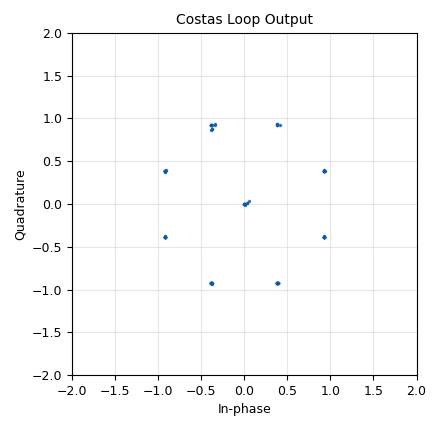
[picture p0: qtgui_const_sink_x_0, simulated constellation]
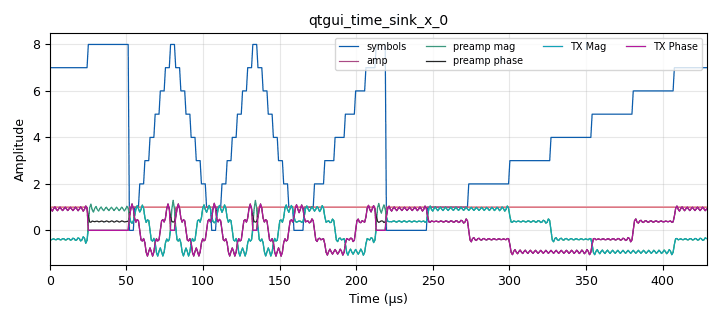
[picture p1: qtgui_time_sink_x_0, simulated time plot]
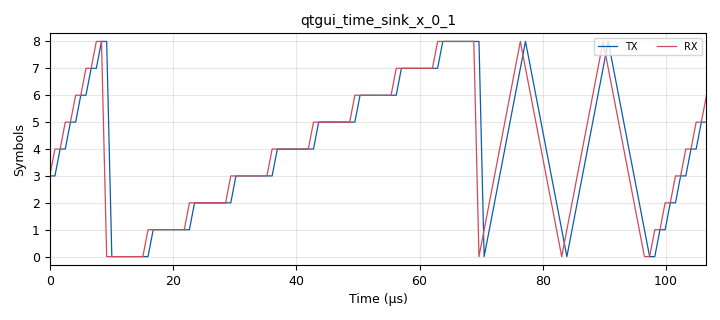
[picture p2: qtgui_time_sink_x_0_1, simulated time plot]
options:
  parameters:
    author: Seth Kintigh
    generate_options: qt_gui
    id: d9psk_mod_demod
    output_language: python
    run_options: run
    title: 9DPSK modulator and demodulator example
  states: {}

blocks:
- name: constellation_9PSK_auto
  id: variable_constellation
  parameters:
    const_points: '[0.383+0.924j, 0.924+0.383j, 0.924-0.383j, 0.383-0.924j, -0.383-0.924j, -0.924-0.383j, -0.924+0.383j, -0.383+0.924j, 0]'
    dims: '1'
    normalization: digital.constellation.AMPLITUDE_NORMALIZATION
    precision: '8'
    rot_sym: '8'
    soft_dec_lut: '''auto'''
    sym_map: '[1,0,7,6,5,4,3,2,8]'
    type: calcdist
  states: {}
- name: delay
  id: variable_qtgui_range
  parameters:
    gui_hint: 0,2
    label: Delay
    rangeType: int
    start: '0'
    step: '1'
    stop: '100'
    value: '30'
  states: {}
- name: nfilts
  id: variable
  parameters:
    value: '24'
  states: {}
- name: pcs_sps_in
  id: variable
  parameters:
    value: '4'
  states: {}
- name: pcs_sps_out
  id: variable
  parameters:
    value: '1'
  states: {}
- name: phase_bw
  id: variable_qtgui_range
  parameters:
    gui_hint: 0,1
    label: 'Phase: Bandwidth'
    start: '0.0'
    step: '0.01'
    stop: '1.0'
    value: 6.28/100.0
  states: {}
- name: rrc_taps
  id: variable
  parameters:
    value: firdes.root_raised_cosine(nfilts, nfilts, 1.0/float(pcs_sps_in), timing_loop_bw_rolloff, 11*pcs_sps_in*nfilts)
  states: {}
- name: samp_rate
  id: variable
  parameters:
    value: '1192000'
  states: {}
- name: taps
  id: variable
  parameters:
    value: '[1.0, 0.25-0.25j, 0.50 + 0.10j, -0.3 + 0.2j]'
  states: {}
- name: throttle_rate
  id: variable
  parameters:
    value: '1000000'
  states: {}
- name: timing_loop_bw
  id: variable_qtgui_range
  parameters:
    gui_hint: '0,0 '
    label: 'Time: BW'
    start: '0.0'
    step: '0.01'
    stop: '0.2'
    value: '6.28/100.0 '
  states: {}
- name: timing_loop_bw_rolloff
  id: variable
  parameters:
    value: .35*3
  states: {}
- name: variable_constellation_0
  id: variable_constellation
  parameters:
    const_points: '[0.383+0.924j, 0.924+0.383j, 0.924-0.383j, 0.383-0.924j, -0.383-0.924j, -0.924-0.383j, -0.924+0.383j, -0.383+0.924j]'
    dims: '1'
    normalization: digital.constellation.AMPLITUDE_NORMALIZATION
    precision: '8'
    rot_sym: '8'
    sym_map: '[1,0,7,6,5,4,3,2]'
    type: calcdist
  states: {}
- name: analog_const_source_x_0
  id: analog_const_source_x
  parameters:
    const: '-8*256'
    type: short
  states: {}
- name: analog_random_source_x_0
  id: analog_random_source_x
  parameters:
    max: '8'
    min: '0'
    num_samps: '1000'
    repeat: 'True'
    type: byte
  states: {state: disabled}
- name: blocks_add_const_vxx_0
  id: blocks_add_const_vxx
  parameters:
    comment: 1/0
    const: '1'
    type: short
  states: {}
- name: blocks_char_to_float_0
  id: blocks_char_to_float
  parameters:
    scale: '1'
  states: {}
- name: blocks_char_to_float_0_0
  id: blocks_char_to_float
  parameters:
    scale: '1'
  states: {}
- name: blocks_char_to_float_0_0_0
  id: blocks_char_to_float
  parameters:
    scale: '1'
  states: {}
- name: blocks_char_to_short_0
  id: blocks_char_to_short
  parameters: {}
  states: {}
- name: blocks_complex_to_float_0
  id: blocks_complex_to_float
  parameters: {}
  states: {}
- name: blocks_delay_0
  id: blocks_delay
  parameters:
    delay: '86'
    type: byte
  states: {}
- name: blocks_delay_0_0
  id: blocks_delay
  parameters:
    delay: delay
    type: byte
  states: {}
- name: blocks_divide_xx_0
  id: blocks_divide_xx
  parameters:
    comment: should be 0 if on/-1 off
    type: short
  states: {}
- name: blocks_float_to_complex_0
  id: blocks_float_to_complex
  parameters: {}
  states: {}
- name: blocks_multiply_xx_0
  id: blocks_multiply_xx
  parameters:
    type: float
  states: {}
- name: blocks_multiply_xx_0_0
  id: blocks_multiply_xx
  parameters:
    type: float
  states: {}
- name: blocks_pack_k_bits_bb_0
  id: blocks_pack_k_bits_bb
  parameters:
    k: '8'
  states: {}
- name: blocks_repeat_0
  id: blocks_repeat
  parameters:
    interp: '4'
    type: byte
  states: {}
- name: blocks_short_to_float_0
  id: blocks_short_to_float
  parameters:
    scale: '1'
  states: {}
- name: blocks_throttle2_0
  id: blocks_throttle2
  parameters:
    samples_per_second: samp_rate
    type: complex
  states: {}
- name: blocks_unpack_k_bits_bb_0
  id: blocks_unpack_k_bits_bb
  parameters:
    k: '3'
  states: {}
- name: blocks_vector_source_x_0
  id: blocks_vector_source_x
  parameters:
    repeat: 'True'
    type: byte
    vector: (4,4,4,0,4,0,4,0,2,4,6,0,0,0,0,0,6,4,2,0,0,0,4,4,2,7,7,4,6,7,5,6,    2,5,2,2, 6,6,2,7, 4,4,2,4, 4,1,6,7, 0,7,3,2,           5,4,3,5, 7,0,3,6, 4,0,7,3, 0,4,1,4, 4,2,7,4, 6,2,0,2, 0,7,6,6, 1,6,4,1, 3,1,4,4, 0,7,7,3, 5,2,7,7    ,7,7,3,0,3,1,6,4,4,     8,8,8,   0,0,0,0,0,0,0,0,0,0,0,0,0,0,0,0,0,0,0,0,0,0,0,0,0,0,0,0,0,0,0,0,0,0,0,0,0,0,0,0,0,0,0,0,0,0,0,0)
  states: {state: disabled}
- name: blocks_vector_source_x_0_0
  id: blocks_vector_source_x
  parameters:
    comment: 800 pts
    repeat: 'True'
    type: byte
    vector: (0,0,1,1,2,2,3,3,4,4,5,5,6,6,7,7,8,8, 0,0,0,0,0,0,0,0, 1,1,1,1,1,1,1,1, 2,2,2,2,2,2,2,2, 3,3,3,3,3,3,3,3, 4,4,4,4,4,4,4,4, 5,5,5,5,5,5,5,5, 6,6,6,6,6,6,6,6, 7,7,7,7,7,7,7,7, 8,8,8,8,8,8,8,8, 0,1,2,3,4,5,6,7,8,7,6,5,4,3,2,1,0,1,2,3,4,5,6,7,8,7,6,5,4,3,2,1)
  states: {}
- name: blocks_vector_source_x_0_1
  id: blocks_vector_source_x
  parameters:
    repeat: 'True'
    type: byte
    vector: (4,4,4,0,4,0,4,0,2,4,6,0,0,0,0,0,6,4,2,0,0,0,4,4,2,7,7,4,6,7,5,6,0,6,5,0,3,2,7,1,0,2,4,2,3,4,0,7,0,7,3,2,1,2,0,0,6,4,2,1,0,0,3,4,2,7,7,6,2,3,7,3,7,4,0,2,2,4,3,5,4,5,3,4,2,3,4,4,0,7,7,3,5,2,7,7,5,   0,6,2,4,2,0,3,2,4,   0,8,8,0,   0,0,0,0,0,0,0,0,0,0,0,0,0,0,0,0,0,0,0,0,0,0,0,0,0,0,0,0,0,0,0,0,0,0,0,0,0,0,0,0,0,0,0,0,0,0,0,0)
  states: {state: disabled}
- name: digital_constellation_decoder_cb_0
  id: digital_constellation_decoder_cb
  parameters:
    constellation: constellation_9PSK_auto
  states: {}
- name: digital_constellation_modulator_0
  id: digital_constellation_modulator
  parameters:
    constellation: variable_constellation_0
    differential: 'False'
    excess_bw: timing_loop_bw_rolloff
    samples_per_symbol: '4'
  states: {}
- name: digital_costas_loop_cc_0
  id: digital_costas_loop_cc
  parameters:
    order: '8'
    w: phase_bw
  states: {}
- name: digital_map_bb_0_0_0
  id: digital_map_bb
  parameters:
    map: '[1,0,7,6,5,4,3,2,0]'
  states: {}
- name: digital_pfb_clock_sync_xxx_0
  id: digital_pfb_clock_sync_xxx
  parameters:
    filter_size: nfilts
    init_phase: nfilts/2
    loop_bw: timing_loop_bw_rolloff
    max_dev: '0.01'
    osps: pcs_sps_out
    sps: pcs_sps_in
    taps: rrc_taps
    type: ccf
  states: {}
- name: qtgui_const_sink_x_0
  id: qtgui_const_sink_x
  parameters:
    grid: 'True'
    gui_hint: 0,3
    name: '"Costas Loop Output"'
    size: '110'
    type: complex
    update_time: '0.1'
  states: {}
- name: qtgui_time_sink_x_0
  id: qtgui_time_sink_x
  parameters:
    gui_hint: 1,0, 2,2
    label1: symbols
    label2: amp
    label3: preamp mag
    label4: preamp phase
    label5: TX Mag
    label6: TX Phase
    nconnections: '6'
    size: '512'
    srate: samp_rate
    style1: '2'
    style3: '3'
    style4: '3'
    type: float
    update_time: '1'
    ymax: '8.5'
    ymin: '-1.5'
  states: {}
- name: qtgui_time_sink_x_0_0
  id: qtgui_time_sink_x
  parameters:
    label1: symbols
    label2: amp
    size: '550'
    srate: samp_rate
    type: complex
  states: {state: disabled}
- name: qtgui_time_sink_x_0_1
  id: qtgui_time_sink_x
  parameters:
    entags: 'False'
    gui_hint: 1,2 ,2,2
    label1: TX
    label2: RX
    nconnections: '2'
    size: '128'
    srate: samp_rate
    style1: '2'
    type: float
    update_time: '1'
    ylabel: Symbols
    ymax: '8'
    ymin: '0'
  states: {}

connections:
- [analog_const_source_x_0, '0', blocks_divide_xx_0, '1']
- [blocks_add_const_vxx_0, '0', blocks_short_to_float_0, '0']
- [blocks_char_to_float_0, '0', qtgui_time_sink_x_0, '0']
- [blocks_char_to_float_0_0, '0', qtgui_time_sink_x_0_1, '0']
- [blocks_char_to_float_0_0_0, '0', qtgui_time_sink_x_0_1, '1']
- [blocks_char_to_short_0, '0', blocks_divide_xx_0, '0']
- [blocks_complex_to_float_0, '0', blocks_multiply_xx_0, '1']
- [blocks_complex_to_float_0, '0', qtgui_time_sink_x_0, '2']
- [blocks_complex_to_float_0, '1', blocks_multiply_xx_0_0, '0']
- [blocks_complex_to_float_0, '1', qtgui_time_sink_x_0, '3']
- [blocks_delay_0, '0', blocks_char_to_float_0, '0']
- [blocks_delay_0, '0', blocks_char_to_short_0, '0']
- [blocks_delay_0_0, '0', blocks_char_to_float_0_0, '0']
- [blocks_divide_xx_0, '0', blocks_add_const_vxx_0, '0']
- [blocks_float_to_complex_0, '0', blocks_throttle2_0, '0']
- [blocks_multiply_xx_0, '0', blocks_float_to_complex_0, '0']
- [blocks_multiply_xx_0, '0', qtgui_time_sink_x_0, '4']
- [blocks_multiply_xx_0_0, '0', blocks_float_to_complex_0, '1']
- [blocks_multiply_xx_0_0, '0', qtgui_time_sink_x_0, '5']
- [blocks_pack_k_bits_bb_0, '0', digital_constellation_modulator_0, '0']
- [blocks_repeat_0, '0', blocks_delay_0, '0']
- [blocks_short_to_float_0, '0', blocks_multiply_xx_0, '0']
- [blocks_short_to_float_0, '0', blocks_multiply_xx_0_0, '1']
- [blocks_short_to_float_0, '0', qtgui_time_sink_x_0, '1']
- [blocks_throttle2_0, '0', digital_pfb_clock_sync_xxx_0, '0']
- [blocks_unpack_k_bits_bb_0, '0', blocks_pack_k_bits_bb_0, '0']
- [blocks_vector_source_x_0, '0', blocks_delay_0_0, '0']
- [blocks_vector_source_x_0, '0', blocks_repeat_0, '0']
- [blocks_vector_source_x_0, '0', digital_map_bb_0_0_0, '0']
- [blocks_vector_source_x_0_0, '0', blocks_delay_0_0, '0']
- [blocks_vector_source_x_0_0, '0', blocks_repeat_0, '0']
- [blocks_vector_source_x_0_0, '0', digital_map_bb_0_0_0, '0']
- [blocks_vector_source_x_0_1, '0', blocks_delay_0_0, '0']
- [blocks_vector_source_x_0_1, '0', blocks_repeat_0, '0']
- [blocks_vector_source_x_0_1, '0', digital_map_bb_0_0_0, '0']
- [digital_constellation_decoder_cb_0, '0', blocks_char_to_float_0_0_0, '0']
- [digital_constellation_modulator_0, '0', blocks_complex_to_float_0, '0']
- [digital_constellation_modulator_0, '0', qtgui_time_sink_x_0_0, '0']
- [digital_costas_loop_cc_0, '0', digital_constellation_decoder_cb_0, '0']
- [digital_costas_loop_cc_0, '0', qtgui_const_sink_x_0, '0']
- [digital_map_bb_0_0_0, '0', blocks_unpack_k_bits_bb_0, '0']
- [digital_pfb_clock_sync_xxx_0, '0', digital_costas_loop_cc_0, '0']

metadata:
  file_format: 1
  grc_version: v3.11.0.0git-510-g2180acce
